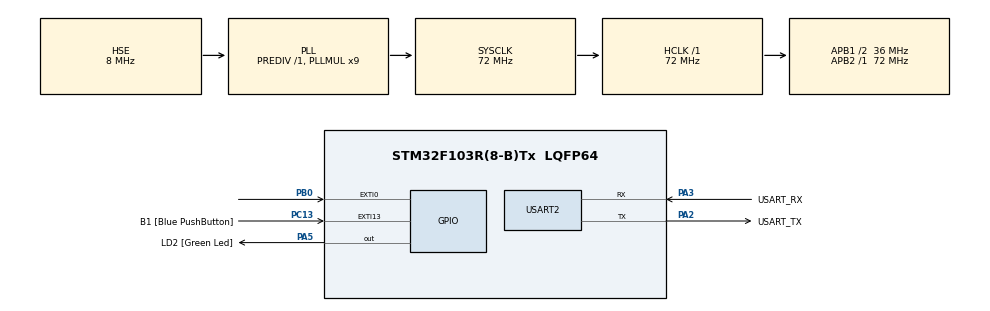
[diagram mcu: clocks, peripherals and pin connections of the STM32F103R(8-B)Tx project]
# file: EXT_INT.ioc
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Dma.Request0=USART2_RX
Dma.Request1=USART2_TX
Dma.USART2_RX.0.Direction=DMA_PERIPH_TO_MEMORY
Dma.USART2_RX.0.Instance=DMA1_Channel6
Dma.USART2_RX.0.MemDataAlignment=DMA_MDATAALIGN_BYTE
Dma.USART2_RX.0.MemInc=DMA_MINC_ENABLE
Dma.USART2_RX.0.Mode=DMA_NORMAL
Dma.USART2_RX.0.PeriphDataAlignment=DMA_PDATAALIGN_BYTE
Dma.USART2_RX.0.PeriphInc=DMA_PINC_DISABLE
Dma.USART2_RX.0.Priority=DMA_PRIORITY_LOW
Dma.USART2_TX.1.Direction=DMA_MEMORY_TO_PERIPH
Dma.USART2_TX.1.Instance=DMA1_Channel7
Dma.USART2_TX.1.MemDataAlignment=DMA_MDATAALIGN_BYTE
Dma.USART2_TX.1.MemInc=DMA_MINC_ENABLE
Dma.USART2_TX.1.Mode=DMA_NORMAL
Dma.USART2_TX.1.PeriphDataAlignment=DMA_PDATAALIGN_BYTE
Dma.USART2_TX.1.PeriphInc=DMA_PINC_DISABLE
Dma.USART2_TX.1.Priority=DMA_PRIORITY_LOW
Mcu.Family=STM32F1
Mcu.Name=STM32F103R(8-B)Tx
Mcu.Package=LQFP64
NVIC.DMA1_Channel6_IRQn=true\:0\:0\:false\:false\:true\:false\:true\:true
NVIC.DMA1_Channel7_IRQn=true\:0\:0\:false\:false\:true\:false\:true\:true
NVIC.EXTI0_IRQn=true\:0\:0\:false\:false\:true\:true\:true\:true
NVIC.EXTI15_10_IRQn=true\:0\:0\:false\:false\:true\:true\:true\:true
NVIC.PriorityGroup=NVIC_PRIORITYGROUP_4
NVIC.USART2_IRQn=true\:0\:0\:false\:false\:true\:true\:true\:true
PA13.GPIO_Label=TMS
PA13.Mode=Serial_Wire
PA13.Signal=SYS_JTMS-SWDIO
PA14.GPIO_Label=TCK
PA14.Mode=Serial_Wire
PA14.Signal=SYS_JTCK-SWCLK
PA2.GPIO_Label=USART_TX
PA2.GPIO_Mode=GPIO_MODE_AF_PP
PA2.GPIO_PuPd=GPIO_NOPULL
PA2.GPIO_Speed=GPIO_SPEED_FREQ_LOW
PA2.Mode=Asynchronous
PA2.Signal=USART2_TX
PA3.GPIO_Label=USART_RX
PA3.GPIO_Mode=GPIO_MODE_AF_PP
PA3.GPIO_PuPd=GPIO_NOPULL
PA3.GPIO_Speed=GPIO_SPEED_FREQ_LOW
PA3.Mode=Asynchronous
PA3.Signal=USART2_RX
PA5.GPIO_Label=LD2 [Green Led]
PA5.GPIO_ModeDefaultOutputPP=GPIO_MODE_OUTPUT_PP
PA5.GPIO_PuPd=GPIO_NOPULL
PA5.GPIO_Speed=GPIO_SPEED_FREQ_LOW
PA5.Signal=GPIO_Output
PB0.GPIO_PuPd=GPIO_PULLUP
PB0.Signal=GPXTI0
PB3.GPIO_Label=SWO
PB3.Signal=SYS_JTDO-TRACESWO
PC13-TAMPER-RTC.GPIO_Label=B1 [Blue PushButton]
PC13-TAMPER-RTC.GPIO_PuPd=GPIO_PULLUP
PC13-TAMPER-RTC.Signal=GPXTI13
PC14-OSC32_IN.Mode=LSE-External-Oscillator
PC14-OSC32_IN.Signal=RCC_OSC32_IN
PC15-OSC32_OUT.Mode=LSE-External-Oscillator
PC15-OSC32_OUT.Signal=RCC_OSC32_OUT
PD0-OSC_IN.Mode=HSE-External-Oscillator
PD0-OSC_IN.Signal=RCC_OSC_IN
PD1-OSC_OUT.Mode=HSE-External-Oscillator
PD1-OSC_OUT.Signal=RCC_OSC_OUT
ProjectManager.HeapSize=0x200
ProjectManager.StackSize=0x400
ProjectManager.TargetToolchain=STM32CubeIDE
RCC.AHBFreq_Value=72000000
RCC.APB1CLKDivider=RCC_HCLK_DIV2
RCC.APB1Freq_Value=36000000
RCC.APB1TimFreq_Value=72000000
RCC.APB2Freq_Value=72000000
RCC.APB2TimFreq_Value=72000000
RCC.HCLKFreq_Value=72000000
RCC.PLLMUL=RCC_PLL_MUL9
RCC.PLLSourceVirtual=RCC_PLLSOURCE_HSE
RCC.RTCClockSelection=RCC_RTCCLKSOURCE_LSE
RCC.SYSCLKFreq_VALUE=72000000
RCC.SYSCLKSource=RCC_SYSCLKSOURCE_PLLCLK
RCC.USBFreq_Value=72000000
USART2.VirtualMode=VM_ASYNC
board=NUCLEO-F103RB

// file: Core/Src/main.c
/* USER CODE BEGIN Header */
/**
  ******************************************************************************
  * @file           : main.c
  * @brief          : Main program body
  ******************************************************************************
  * @attention
  *
  * Copyright (c) 2022 STMicroelectronics.
  * All rights reserved.
  *
  * This software is licensed under terms that can be found in the LICENSE file
  * in the root directory of this software component.
  * If no LICENSE file comes with this software, it is provided AS-IS.
  *
  ******************************************************************************
  */
/* USER CODE END Header */
#include "main.h"

/* USER CODE BEGIN Includes */
#include "string.h"
/* USER CODE END Includes */

 UART_HandleTypeDef huart2;
DMA_HandleTypeDef hdma_usart2_rx;
DMA_HandleTypeDef hdma_usart2_tx;

/* USER CODE BEGIN PV */
uint16_t encoder = 0;
uint8_t UART2_rxBuffer[8] = {0};
/* USER CODE END PV */

void SystemClock_Config(void);
static void MX_GPIO_Init(void);
static void MX_DMA_Init(void);
static void MX_USART2_UART_Init(void);

/* USER CODE BEGIN 0 */
void send_UART_data (void)
{
	char data[50];
	sprintf(data, "Ticks = %d\n", encoder);
	HAL_UART_Transmit(&huart2, (uint8_t *)data, strlen(data), 500);

	//HAL_UART_Transmit(&huart2, encoder, sizeof(encoder), 500);
}

//void HAL_UART_RxCpltCallback(UART_HandleTypeDef *huart)
//{
//	HAL_UART_Receive_IT(&huart2, UART2_rxBuffer, 8);
//	HAL_UART_Transmit_DMA(&huart2, UART2_rxBuffer, 8);
//}
/* USER CODE END 0 */

int main(void)
{

  /* MCU Configuration--------------------------------------------------------*/

  /* Reset of all peripherals, Initializes the Flash interface and the Systick. */
  HAL_Init();

  /* Configure the system clock */
  SystemClock_Config();

  /* Initialize all configured peripherals */
  MX_GPIO_Init();
  MX_DMA_Init();
  MX_USART2_UART_Init();
  /* USER CODE BEGIN 2 */
  //HAL_UART_Receive_IT(&huart2, UART2_rxBuffer, 8);
  /* USER CODE END 2 */

  /* Infinite loop */
  while (1)
  {

  }
}

void SystemClock_Config(void)
{
  RCC_OscInitTypeDef RCC_OscInitStruct = {0};
  RCC_ClkInitTypeDef RCC_ClkInitStruct = {0};

  /** Initializes the RCC Oscillators according to the specified parameters
  * in the RCC_OscInitTypeDef structure.
  */
  RCC_OscInitStruct.OscillatorType = RCC_OSCILLATORTYPE_HSE;
  RCC_OscInitStruct.HSEState = RCC_HSE_ON;
  RCC_OscInitStruct.HSEPredivValue = RCC_HSE_PREDIV_DIV1;
  RCC_OscInitStruct.HSIState = RCC_HSI_ON;
  RCC_OscInitStruct.PLL.PLLState = RCC_PLL_ON;
  RCC_OscInitStruct.PLL.PLLSource = RCC_PLLSOURCE_HSE;
  RCC_OscInitStruct.PLL.PLLMUL = RCC_PLL_MUL9;
  if (HAL_RCC_OscConfig(&RCC_OscInitStruct) != HAL_OK)
  {
    Error_Handler();
  }

  /** Initializes the CPU, AHB and APB buses clocks
  */
  RCC_ClkInitStruct.ClockType = RCC_CLOCKTYPE_HCLK|RCC_CLOCKTYPE_SYSCLK
                              |RCC_CLOCKTYPE_PCLK1|RCC_CLOCKTYPE_PCLK2;
  RCC_ClkInitStruct.SYSCLKSource = RCC_SYSCLKSOURCE_PLLCLK;
  RCC_ClkInitStruct.AHBCLKDivider = RCC_SYSCLK_DIV1;
  RCC_ClkInitStruct.APB1CLKDivider = RCC_HCLK_DIV2;
  RCC_ClkInitStruct.APB2CLKDivider = RCC_HCLK_DIV1;

  if (HAL_RCC_ClockConfig(&RCC_ClkInitStruct, FLASH_LATENCY_2) != HAL_OK)
  {
    Error_Handler();
  }
}

static void MX_USART2_UART_Init(void)
{

  huart2.Instance = USART2;
  huart2.Init.BaudRate = 115200;
  huart2.Init.WordLength = UART_WORDLENGTH_8B;
  huart2.Init.StopBits = UART_STOPBITS_1;
  huart2.Init.Parity = UART_PARITY_NONE;
  huart2.Init.Mode = UART_MODE_TX_RX;
  huart2.Init.HwFlowCtl = UART_HWCONTROL_NONE;
  huart2.Init.OverSampling = UART_OVERSAMPLING_16;
  if (HAL_UART_Init(&huart2) != HAL_OK)
  {
    Error_Handler();
  }

}

static void MX_DMA_Init(void)
{

  /* DMA controller clock enable */
  __HAL_RCC_DMA1_CLK_ENABLE();

  /* DMA interrupt init */
  /* DMA1_Channel6_IRQn interrupt configuration */
  HAL_NVIC_SetPriority(DMA1_Channel6_IRQn, 0, 0);
  HAL_NVIC_EnableIRQ(DMA1_Channel6_IRQn);
  /* DMA1_Channel7_IRQn interrupt configuration */
  HAL_NVIC_SetPriority(DMA1_Channel7_IRQn, 0, 0);
  HAL_NVIC_EnableIRQ(DMA1_Channel7_IRQn);

}

static void MX_GPIO_Init(void)
{
  GPIO_InitTypeDef GPIO_InitStruct = {0};

  /* GPIO Ports Clock Enable */
  __HAL_RCC_GPIOC_CLK_ENABLE();
  __HAL_RCC_GPIOD_CLK_ENABLE();
  __HAL_RCC_GPIOA_CLK_ENABLE();
  __HAL_RCC_GPIOB_CLK_ENABLE();

  /*Configure GPIO pin Output Level */
  HAL_GPIO_WritePin(LD2_GPIO_Port, LD2_Pin, GPIO_PIN_RESET);

  /*Configure GPIO pin : B1_Pin */
  GPIO_InitStruct.Pin = B1_Pin;
  GPIO_InitStruct.Mode = GPIO_MODE_IT_RISING;
  GPIO_InitStruct.Pull = GPIO_PULLUP;
  HAL_GPIO_Init(B1_GPIO_Port, &GPIO_InitStruct);

  /*Configure GPIO pin : LD2_Pin */
  GPIO_InitStruct.Pin = LD2_Pin;
  GPIO_InitStruct.Mode = GPIO_MODE_OUTPUT_PP;
  GPIO_InitStruct.Pull = GPIO_NOPULL;
  GPIO_InitStruct.Speed = GPIO_SPEED_FREQ_LOW;
  HAL_GPIO_Init(LD2_GPIO_Port, &GPIO_InitStruct);

  /*Configure GPIO pin : PB0 */
  GPIO_InitStruct.Pin = GPIO_PIN_0;
  GPIO_InitStruct.Mode = GPIO_MODE_IT_RISING;
  GPIO_InitStruct.Pull = GPIO_PULLUP;
  HAL_GPIO_Init(GPIOB, &GPIO_InitStruct);

  /* EXTI interrupt init*/
  HAL_NVIC_SetPriority(EXTI0_IRQn, 0, 0);
  HAL_NVIC_EnableIRQ(EXTI0_IRQn);

  HAL_NVIC_SetPriority(EXTI15_10_IRQn, 0, 0);
  HAL_NVIC_EnableIRQ(EXTI15_10_IRQn);

}

/* USER CODE BEGIN 4 */
void HAL_GPIO_EXTI_Callback(uint16_t GPIO_Pin)
{
	if(GPIO_Pin == B1_Pin)
	{
		HAL_GPIO_TogglePin(GPIOA, LD2_Pin);
		encoder = 0;
		send_UART_data();
	}
	if(GPIO_Pin == GPIO_PIN_0)
	{
		HAL_GPIO_TogglePin(GPIOA, LD2_Pin);
		encoder++;
		send_UART_data();
	}
}

/* USER CODE END 4 */

void Error_Handler(void)
{
  __disable_irq();
  while (1)
  {
  }
}
